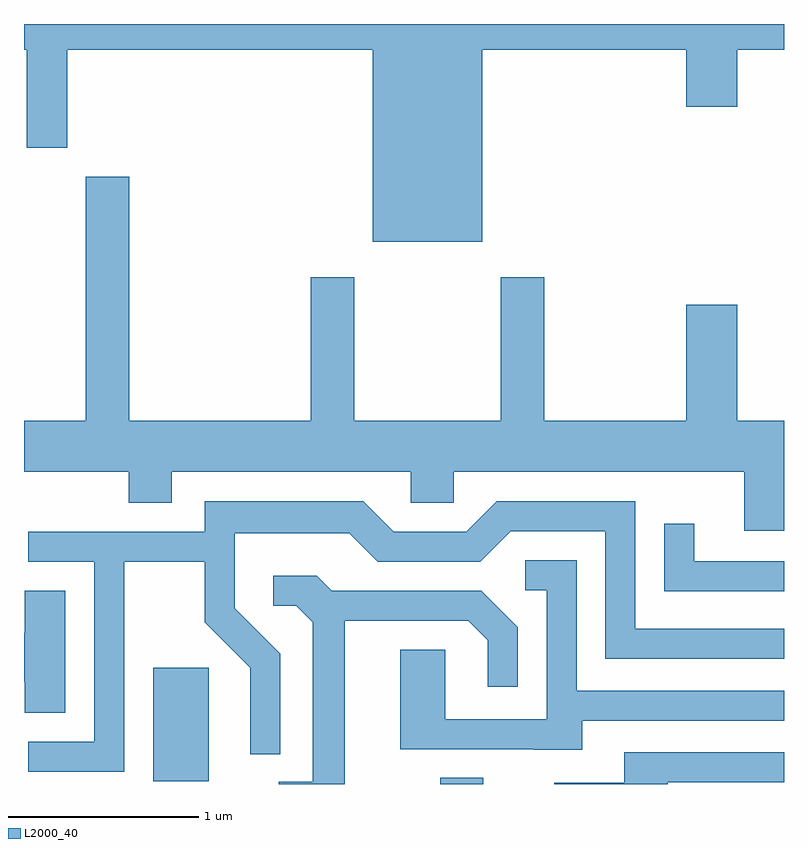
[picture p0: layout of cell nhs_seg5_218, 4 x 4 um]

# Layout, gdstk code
import gdstk
lib = gdstk.Library(unit=1e-6, precision=1e-09)
def R(c, l, rs):  # rectangles x0, y0, x1, y1
    for r in rs: c.add(gdstk.rectangle(r[:2], r[2:], *l))
def P(c, l, *ps):  # polygons
    for p in ps: c.add(gdstk.Polygon(p, *l))
L2000_40 = (2000, 40)

nhs_seg5_218 = lib.new_cell('nhs_seg5_218')
R(nhs_seg5_218, L2000_40, [(193.801,1424.072,194.029,1424.104), (192.291,1424.086,192.584,1424.684)])
P(nhs_seg5_218, L2000_40, [(194.024,1427.936),(195.096,1427.936),(195.096,1427.636),(195.364,1427.636),(195.364,1427.936),(195.611,1427.936),(195.611,1428.072),(191.611,1428.072),(191.611,1427.936),(191.626,1427.936),(191.626,1427.421),(191.839,1427.421),(191.839,1427.936),(193.446,1427.936),(193.446,1426.926),(194.024,1426.926)],
  [(195.611,1425.984),(195.364,1425.984),(195.364,1426.594),(195.096,1426.594),(195.096,1425.984),(194.349,1425.984),(194.349,1426.739),(194.121,1426.739),(194.121,1425.984),(193.349,1425.984),(193.349,1426.739),(193.121,1426.739),(193.121,1425.984),(192.164,1425.984),(192.164,1427.269),(191.936,1427.269),(191.936,1425.984),(191.611,1425.984),(191.611,1425.716),(192.161,1425.716),(192.161,1425.551),(192.389,1425.551),(192.389,1425.716),(193.646,1425.716),(193.646,1425.551),(193.874,1425.551),(193.874,1425.716),(195.401,1425.716),(195.401,1425.406),(195.611,1425.406)],
  [(192.139,1425.241),(192.561,1425.241),(192.561,1424.924),(192.801,1424.684),(192.801,1424.228),(192.959,1424.228),(192.959,1424.757),(192.719,1424.997),(192.719,1425.391),(193.324,1425.391),(193.474,1425.241),(194.012,1425.241),(194.172,1425.401),(194.671,1425.401),(194.671,1424.731),(195.611,1424.731),(195.611,1424.889),(194.829,1424.889),(194.829,1425.559),(194.099,1425.559),(193.939,1425.399),(193.557,1425.399),(193.397,1425.559),(192.561,1425.559),(192.561,1425.399),(191.633,1425.399),(191.633,1425.241),(191.981,1425.241),(191.981,1424.294),(191.633,1424.294),(191.633,1424.136),(192.139,1424.136)],
  [(195.611,1425.244),(195.139,1425.244),(195.139,1425.443),(194.981,1425.443),(194.981,1425.086),(195.611,1425.086)],
  [(194.549,1424.406),(195.611,1424.406),(195.611,1424.564),(194.519,1424.564),(194.519,1425.249),(194.248,1425.249),(194.248,1425.091),(194.361,1425.091),(194.361,1424.414),(193.829,1424.414),(193.829,1424.779),(193.591,1424.779),(193.591,1424.256),(194.295,1424.256),(194.295,1424.251),(194.549,1424.251)],
  [(193.299,1424.931),(193.949,1424.931),(194.051,1424.829),(194.051,1424.583),(194.209,1424.583),(194.209,1424.897),(194.017,1425.089),(193.232,1425.089),(193.152,1425.169),(192.923,1425.169),(192.923,1425.011),(193.044,1425.011),(193.131,1424.924),(193.131,1424.084),(192.953,1424.084),(192.953,1424.072),(193.299,1424.072)],
  [(191.829,1425.089),(191.616,1425.089),(191.616,1424.869),(191.611,1424.869),(191.611,1424.611),(191.616,1424.611),(191.616,1424.446),(191.829,1424.446)],
  [(194.999,1424.081),(195.611,1424.081),(195.611,1424.239),(194.771,1424.239),(194.771,1424.079),(194.403,1424.079),(194.403,1424.072),(194.999,1424.072)])

lib.write_gds('nhs_seg5_218.gds')
